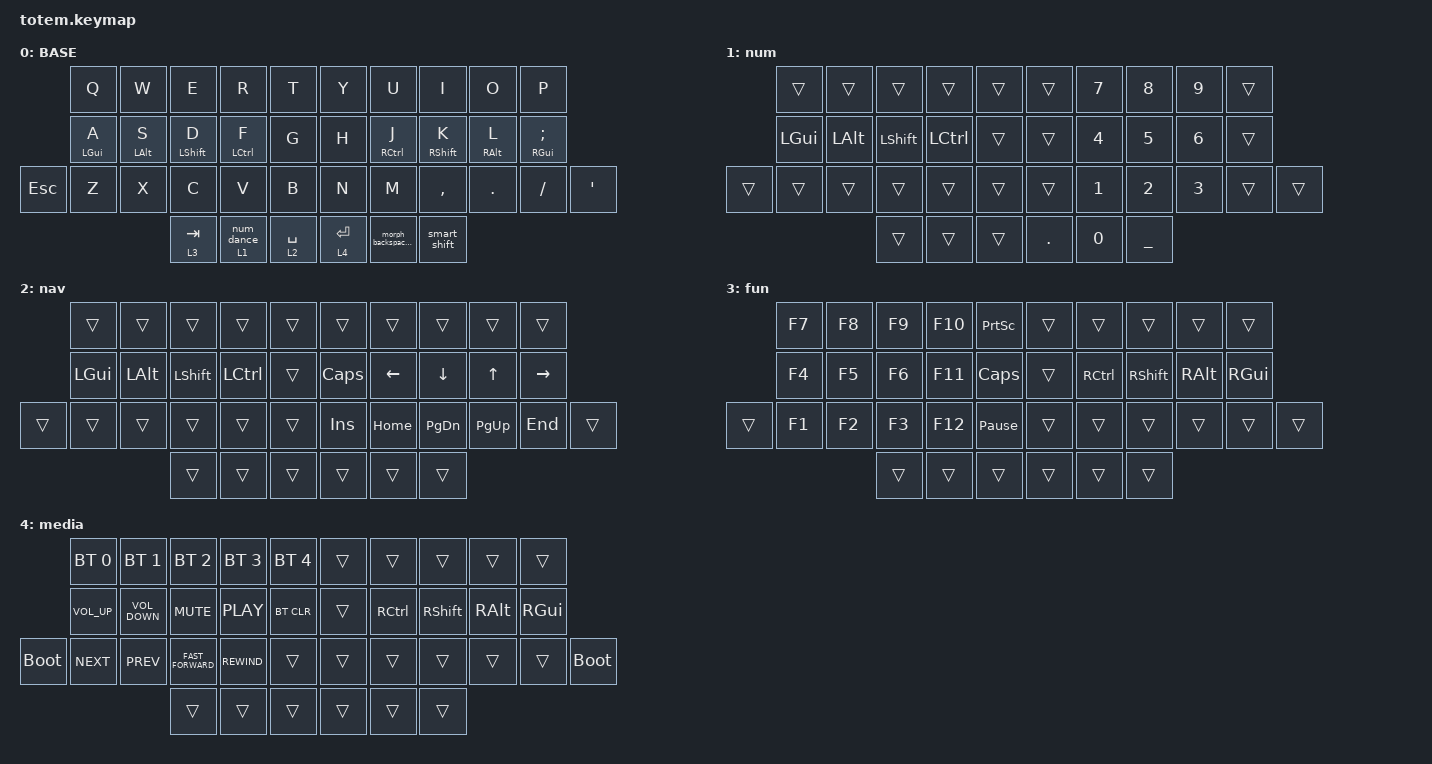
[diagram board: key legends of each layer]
//
//                                                        ▀▀▀▀▀     ▀▀▀▀▀          ▀▀█▀▀
//                                                        ▄▀▀▀▄  ▄  ▄▀▀▀▄  ▄  ▄▀▀▀▄  █  ▄▀▀▀▄
//                                                        █   █  █  █   █  █  █   █  █  █   █
//                                                         ▀▀▀   █   ▀▀▀   █   ▀▀▀   ▀   ▀▀▀
//                                                               █      ▄▄▄█▄▄▄    █   █  
//                                                               ▀      █  █  █     █▄█
//                                                             ▀▀▀▀▀    █  █  █      ▀
//                                                                      ▀  ▀  ▀
//
// ▄▄▄▄▄▄▄▄▄▄▄▄▄▄▄▄▄▄▄▄▄▄▄▄▄▄▄▄▄▄▄▄▄▄▄▄▄▄▄▄▄▄▄▄▄▄▄▄▄▄▄▄▄▄▄▄▄▄▄▄▄▄▄▄▄▄▄▄▄▄▄▄▄▄▄▄▄▄▄▄▄▄▄▄▄▄▄▄▄▄▄▄▄▄▄▄▄▄▄▄▄▄▄▄▄▄▄▄▄▄▄▄▄▄▄▄▄▄▄▄▄▄▄▄▄▄▄▄▄▄▄▄▄▄▄▄▄▄▄▄▄▄▄▄▄▄▄▄▄

#include <behaviors/num_word.dtsi>
#include <behaviors.dtsi>
#include <dt-bindings/zmk/bt.h>
#include <dt-bindings/zmk/keys.h>

#define BASE 0
#define NAV  1
#define SYM  2
#define ADJ  3
#define TVP1 4
#define TVP2 5

&sk { release-after-ms = <900>; };

/ {
    combos {
        compatible = "zmk,combos";

        combo_lpar {
            bindings = <&morph_lpar_lt>;
            key-positions = <16 17>;
            timeout-ms = <50>;
            layers = <0>;
            require-prior-idle-ms = <150>;
        };

        combo_rpar {
            bindings = <&morph_rpar_gt>;
            key-positions = <17 18>;
            timeout-ms = <50>;
            layers = <0>;
            require-prior-idle-ms = <150>;
        };

        combo_lbkt {
            bindings = <&kp LEFT_BRACKET>;
            key-positions = <6 7>;
            timeout-ms = <50>;
            layers = <0>;
            require-prior-idle-ms = <150>;
        };

        combo_rbkt {
            bindings = <&kp RIGHT_BRACKET>;
            key-positions = <7 8>;
            timeout-ms = <50>;
            layers = <0>;
            require-prior-idle-ms = <150>;
        };

        combo_lbrc {
            bindings = <&kp LEFT_BRACE>;
            key-positions = <27 28>;
            timeout-ms = <50>;
            require-prior-idle-ms = <150>;
            layers = <0>;
        };

        combo_rbrc {
            bindings = <&kp RIGHT_BRACE>;
            key-positions = <28 29>;
            timeout-ms = <50>;
            require-prior-idle-ms = <150>;
            layers = <0>;
        };

        combo_eq {
            bindings = <&kp EQUAL>;
            key-positions = <26 15>;
            timeout-ms = <50>;
            require-prior-idle-ms = <150>;
            layers = <0>;
        };

        combo_plus {
            bindings = <&kp PLUS>;
            key-positions = <16 27>;
            timeout-ms = <50>;
            require-prior-idle-ms = <150>;
            layers = <0>;
        };

        combo_minus {
            bindings = <&kp MINUS>;
            key-positions = <17 28>;
            timeout-ms = <50>;
            require-prior-idle-ms = <150>;
            layers = <0>;
        };

        combo_ast {
            bindings = <&kp ASTERISK>;
            key-positions = <18 29>;
            timeout-ms = <50>;
            require-prior-idle-ms = <150>;
            layers = <0>;
        };

        combo_underscore {
            bindings = <&kp UNDERSCORE>;
            key-positions = <26 27>;
            timeout-ms = <50>;
            require-prior-idle-ms = <150>;
            layers = <0>;
        };

        combo_copy {
            bindings = <&kp LC(C)>;
            key-positions = <23 22>;
            timeout-ms = <50>;
            require-prior-idle-ms = <150>;
            layers = <0>;
        };

        combo_paste {
            bindings = <&kp LC(V)>;
            key-positions = <23 24>;
            timeout-ms = <50>;
            require-prior-idle-ms = <150>;
            layers = <0>;
        };

        combo_bslash {
            bindings = <&kp BACKSLASH>;
            key-positions = <15 16>;
            timeout-ms = <50>;
            require-prior-idle-ms = <150>;
            layers = <0>;
        };

        combo_grave {
            bindings = <&kp GRAVE>;
            key-positions = <5 6>;
            timeout-ms = <50>;
            require-prior-idle-ms = <150>;
            layers = <0>;
        };
    };

    behaviors {
        hm_l: hm_l {
            compatible = "zmk,behavior-hold-tap";
            label = "HM_L";
            bindings = <&kp>, <&kp>;

            #binding-cells = <2>;
            tapping-term-ms = <280>;
            quick-tap-ms = <175>;
            require-prior-idle-ms = <150>;
            flavor = "balanced";
            hold-trigger-key-positions = <5 6 7 8 9 15 16 17 18 19 26 27 28 29 30 35 36 37 32 33 34>;
            hold-trigger-on-release;
        };

        hm_r: hm_r {
            compatible = "zmk,behavior-hold-tap";
            label = "HM_R";
            bindings = <&kp>, <&kp>;

            #binding-cells = <2>;
            tapping-term-ms = <280>;
            quick-tap-ms = <175>;
            require-prior-idle-ms = <150>;
            flavor = "balanced";
            hold-trigger-key-positions = <35 36 37 32 33 34 0 1 2 3 4 10 11 12 13 14 21 22 23 24 25>;
            hold-trigger-on-release;
        };

        smart_shift: smart_shift {
            compatible = "zmk,behavior-mod-morph";
            label = "SMART_SHIFT";
            bindings = <&sk LEFT_SHIFT>, <&caps_word>;

            #binding-cells = <0>;
            mods = <(MOD_LSFT|MOD_RSFT)>;
        };

        num_dance: num_dance {
            compatible = "zmk,behavior-tap-dance";
            label = "NUM_DANCE";
            #binding-cells = <0>;
            tapping-term-ms = <250>;
            bindings = <&num_word 1>, <&sl 1>;
        };

        smart_num: smart_num {
            compatible = "zmk,behavior-hold-tap";
            label = "SMART_NUM";
            bindings = <&mo>, <&num_dance>;

            #binding-cells = <2>;
            tapping-term-ms = <280>;
            quick-tap-ms = <175>;
            require-prior-idle-ms = <125>;
            flavor = "balanced";
        };

        morph_lpar_lt: morph_lpar_lt {
            compatible = "zmk,behavior-mod-morph";
            label = "MORPH_LPAR_LT";
            bindings = <&kp LEFT_PARENTHESIS>, <&kp LESS_THAN>;

            #binding-cells = <0>;
            mods = <(MOD_LSFT|MOD_RSFT)>;
        };

        morph_rpar_gt: morph_rpar_gt {
            compatible = "zmk,behavior-mod-morph";
            label = "MORPH_RPAR_GT";
            bindings = <&kp RIGHT_PARENTHESIS>, <&kp GREATER_THAN>;

            #binding-cells = <0>;
            mods = <(MOD_LSFT|MOD_RSFT)>;
        };

        tap_mo_l: tap_mo_l {
            compatible = "zmk,behavior-hold-tap";
            label = "TAP_MO_L";
            bindings = <&mo>, <&kp>;

            #binding-cells = <2>;
            tapping-term-ms = <280>;
            quick-tap-ms = <175>;
            require-prior-idle-ms = <125>;
            flavor = "balanced";
            hold-trigger-key-positions = <0 1 2 3 4 10 11 12 13 14 21 22 23 24 25 5 6 7 8 9 15 16 17 18 19 26 27 28 29 30 31 35 36 37>;
            hold-trigger-on-release;
        };

        tap_mo_r: tap_mo_r {
            compatible = "zmk,behavior-hold-tap";
            label = "TAP_MO_R";
            bindings = <&mo>, <&kp>;

            #binding-cells = <2>;
            tapping-term-ms = <280>;
            quick-tap-ms = <175>;
            require-prior-idle-ms = <125>;
            flavor = "balanced";
            hold-trigger-key-positions = <0 1 2 3 4 10 11 12 13 14 21 22 23 24 25 5 6 7 8 9 15 16 17 18 19 26 27 28 29 30 31 32 33 34>;
            hold-trigger-on-release;
        };

        morph_backspace_del: morph_backspace_del {
            compatible = "zmk,behavior-mod-morph";
            label = "MORPH_BACKSPACE_DEL";
            bindings = <&kp BACKSPACE>, <&kp DEL>;

            #binding-cells = <0>;
            mods = <(MOD_LSFT|MOD_RSFT)>;
        };
    };

    keymap {
        compatible = "zmk,keymap";

        // ▄▄▄▄▄▄▄▄▄▄▄▄▄▄▄▄▄▄▄▄▄▄▄▄▄▄▄▄▄▄▄▄▄▄▄▄▄▄▄▄▄▄▄▄▄▄▄▄▄▄▄▄▄▄▄▄▄▄▄▄▄▄▄▄▄▄▄▄▄▄▄▄▄▄▄▄▄▄▄▄▄▄▄▄▄▄▄▄▄▄▄▄▄▄▄▄▄▄▄▄▄▄▄▄▄▄▄▄▄▄▄▄▄▄▄▄▄▄▄▄▄▄▄▄▄▄▄▄▄▄▄▄▄▄▄▄▄▄▄▄▄▄▄▄▄▄▄▄▄

        base_layer {
            // ┏━━━━━━━━━━━━━━━━━━━━━━━━━━━━━━━━━━━━━━━┓

            label = "BASE";

            // ┗━━━━━━━━━━━━━━━━━━━━━━━━━━━━━━━━━━━━━━━┛
            //             ┏━━━━━━━━━━━┳━━━━━━━━━━━┳━━━━━━━━━━━┳━━━━━━━━━━━┳━━━━━━━━━━━┓   ┏━━━━━━━━━━━┳━━━━━━━━━━━┳━━━━━━━━━━━┳━━━━━━━━━━━┳━━━━━━━━━━━┓
            //             ┃     Q     ┃     W     ┃     F     ┃     P     ┃     G     ┃   ┃     J     ┃     L     ┃     U     ┃     Y     ┃     ;     ┃
            //             ┣━━━━━━━━━━━╋━━━━━━━━━━━╋━━━━━━━━━━━╋━━━━━━━━━━━╋━━━━━━━━━━━┫   ┣━━━━━━━━━━━╋━━━━━━━━━━━╋━━━━━━━━━━━╋━━━━━━━━━━━╋━━━━━━━━━━━┫
            //             ┃     A     ┃     R     ┃     S     ┃     T     ┃     D     ┃   ┃     H     ┃     N     ┃     E     ┃     I     ┃     O     ┃
            // ┏━━━━━━━━━━━╋━━━━━━━━━━━╋━━━━━━━━━━━╋━━━━━━━━━━━╋━━━━━━━━━━━╋━━━━━━━━━━━┫   ┣━━━━━━━━━━━╋━━━━━━━━━━━╋━━━━━━━━━━━╋━━━━━━━━━━━╋━━━━━━━━━━━╋━━━━━━━━━━━┓
            // ┃     Q     ┃     Z     ┃     X     ┃     C     ┃     V     ┃     B     ┃   ┃     K     ┃     M     ┃     ,     ┃     .     ┃     /     ┃     \     ┃
            // ┗━━━━━━━━━━━┻━━━━━━━━━━━┻━━━━━━━━━━━╋━━━━━━━━━━━╋━━━━━━━━━━━╋━━━━━━━━━━━┫   ┣━━━━━━━━━━━╋━━━━━━━━━━━╋━━━━━━━━━━━╋━━━━━━━━━━━┻━━━━━━━━━━━┻━━━━━━━━━━━┛
            //                                     ┃    DEL    ┃    TAB    ┃    SPC    ┃   ┃   ENTER   ┃           ┃   BSPC    ┃
            //                                     ┗━━━━━━━━━━━┻━━━━━━━━━━━┻━━━━━━━━━━━┛   ┗━━━━━━━━━━━┻━━━━━━━━━━━┻━━━━━━━━━━━┛

            bindings = <
            &kp Q         &kp W         &kp E            &kp R           &kp T              &kp Y              &kp U                 &kp I           &kp O         &kp P
            &hm_l LGUI A  &hm_l LALT S  &hm_l LSHIFT D   &hm_l LCTRL F   &kp G              &kp H              &hm_r RCTRL J         &hm_r RSHIFT K  &hm_r RALT L  &hm_r RGUI SEMICOLON
&kp ESCAPE  &kp Z         &kp X         &kp C            &kp V           &kp B              &kp N              &kp M                 &kp COMMA       &kp DOT       &kp SLASH             &kp APOSTROPHE
                                        &tap_mo_l 3 TAB  &smart_num 1 0  &tap_mo_l 2 SPACE  &tap_mo_r 4 ENTER  &morph_backspace_del  &smart_shift
            >;
        };

        // ▄▄▄▄▄▄▄▄▄▄▄▄▄▄▄▄▄▄▄▄▄▄▄▄▄▄▄▄▄▄▄▄▄▄▄▄▄▄▄▄▄▄▄▄▄▄▄▄▄▄▄▄▄▄▄▄▄▄▄▄▄▄▄▄▄▄▄▄▄▄▄▄▄▄▄▄▄▄▄▄▄▄▄▄▄▄▄▄▄▄▄▄▄▄▄▄▄▄▄▄▄▄▄▄▄▄▄▄▄▄▄▄▄▄▄▄▄▄▄▄▄▄▄▄▄▄▄▄▄▄▄▄▄▄▄▄▄▄▄▄▄▄▄▄▄▄▄▄▄

        num {
            bindings = <
        &trans    &trans    &trans      &trans     &trans  &trans      &kp N7  &kp N8          &kp N9  &trans
        &kp LGUI  &kp LALT  &kp LSHIFT  &kp LCTRL  &trans  &trans      &kp N4  &kp N5          &kp N6  &trans
&trans  &trans    &trans    &trans      &trans     &trans  &trans      &kp N1  &kp N2          &kp N3  &trans  &trans
                            &trans      &trans     &trans  &kp PERIOD  &kp N0  &kp UNDERSCORE
            >;
        };

        nav {
            bindings = <
        &trans    &trans    &trans      &trans     &trans  &trans      &trans    &trans         &trans       &trans
        &kp LGUI  &kp LALT  &kp LSHIFT  &kp LCTRL  &trans  &kp CAPS    &kp LEFT  &kp DOWN       &kp UP       &kp RIGHT
&trans  &trans    &trans    &trans      &trans     &trans  &kp INSERT  &kp HOME  &kp PAGE_DOWN  &kp PAGE_UP  &kp END    &trans
                            &trans      &trans     &trans  &trans      &trans    &trans
            >;
        };

        fun {
            bindings = <
        &kp F7  &kp F8  &kp F9  &kp F10  &kp PRINTSCREEN  &trans  &trans     &trans      &trans    &trans
        &kp F4  &kp F5  &kp F6  &kp F11  &kp CAPSLOCK     &trans  &kp RCTRL  &kp RSHIFT  &kp RALT  &kp RGUI
&trans  &kp F1  &kp F2  &kp F3  &kp F12  &kp PAUSE_BREAK  &trans  &trans     &trans      &trans    &trans    &trans
                        &trans  &trans   &trans           &trans  &trans     &trans
            >;
        };

        media {
            bindings = <
             &bt BT_SEL 0     &bt BT_SEL 1       &bt BT_SEL 2        &bt BT_SEL 3  &bt BT_SEL 4  &trans  &trans             &trans      &trans    &trans
             &kp C_VOLUME_UP  &kp C_VOLUME_DOWN  &kp C_MUTE          &kp C_PLAY    &bt BT_CLR    &trans  &kp RIGHT_CONTROL  &kp RSHIFT  &kp RALT  &kp RGUI
&bootloader  &kp C_NEXT       &kp C_PREV         &kp C_FAST_FORWARD  &kp C_REWIND  &trans        &trans  &trans             &trans      &trans    &trans    &bootloader
                                                 &trans              &trans        &trans        &trans  &trans             &trans
            >;
        };

        // ▄▄▄▄▄▄▄▄▄▄▄▄▄▄▄▄▄▄▄▄▄▄▄▄▄▄▄▄▄▄▄▄▄▄▄▄▄▄▄▄▄▄▄▄▄▄▄▄▄▄▄▄▄▄▄▄▄▄▄▄▄▄▄▄▄▄▄▄▄▄▄▄▄▄▄▄▄▄▄▄▄▄▄▄▄▄▄▄▄▄▄▄▄▄▄▄▄▄▄▄▄▄▄▄▄▄▄▄▄▄▄▄▄▄▄▄▄▄▄▄▄▄▄▄▄▄▄▄▄▄▄▄▄▄▄▄▄▄▄▄▄▄▄▄▄▄▄▄▄
        // ▄▄▄▄▄▄▄▄▄▄▄▄▄▄▄▄▄▄▄▄▄▄▄▄▄▄▄▄▄▄▄▄▄▄▄▄▄▄▄▄▄▄▄▄▄▄▄▄▄▄▄▄▄▄▄▄▄▄▄▄▄▄▄▄▄▄▄▄▄▄▄▄▄▄▄▄▄▄▄▄▄▄▄▄▄▄▄▄▄▄▄▄▄▄▄▄▄▄▄▄▄▄▄▄▄▄▄▄▄▄▄▄▄▄▄▄▄▄▄▄▄▄▄▄▄▄▄▄▄▄▄▄▄▄▄▄▄▄▄▄▄▄▄▄▄▄▄▄▄
        // ▄▄▄▄▄▄▄▄▄▄▄▄▄▄▄▄▄▄▄▄▄▄▄▄▄▄▄▄▄▄▄▄▄▄▄▄▄▄▄▄▄▄▄▄▄▄▄▄▄▄▄▄▄▄▄▄▄▄▄▄▄▄▄▄▄▄▄▄▄▄▄▄▄▄▄▄▄▄▄▄▄▄▄▄▄▄▄▄▄▄▄▄▄▄▄▄▄▄▄▄▄▄▄▄▄▄▄▄▄▄▄▄▄▄▄▄▄▄▄▄▄▄▄▄▄▄▄▄▄▄▄▄▄▄▄▄▄▄▄▄▄▄▄▄▄▄▄▄▄
        // ▄▄▄▄▄▄▄▄▄▄▄▄▄▄▄▄▄▄▄▄▄▄▄▄▄▄▄▄▄▄▄▄▄▄▄▄▄▄▄▄▄▄▄▄▄▄▄▄▄▄▄▄▄▄▄▄▄▄▄▄▄▄▄▄▄▄▄▄▄▄▄▄▄▄▄▄▄▄▄▄▄▄▄▄▄▄▄▄▄▄▄▄▄▄▄▄▄▄▄▄▄▄▄▄▄▄▄▄▄▄▄▄▄▄▄▄▄▄▄▄▄▄▄▄▄▄▄▄▄▄▄▄▄▄▄▄▄▄▄▄▄▄▄▄▄▄▄▄▄
    };
};
